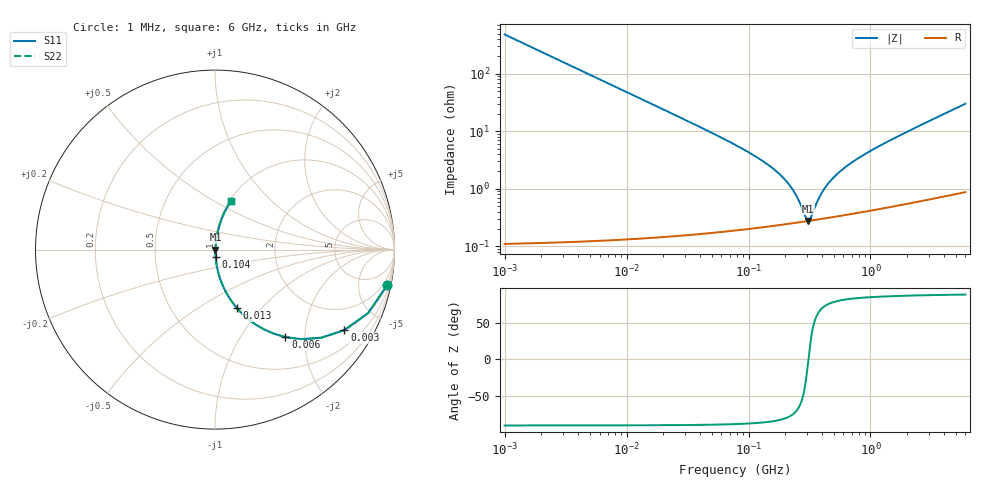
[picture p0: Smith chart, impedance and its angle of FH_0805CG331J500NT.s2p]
! FH 0805CG331J500NT 330 pF 0805 C0G (C5)
! FH publishes no RF data: typical 0805 C0G model, ESL=0.8 nH, ESR=0.10+0.10*sqrt(f/100MHz) ohm
! Generated by make_s2p.py - an estimate, not a measurement
! Series-thru 2-port: part connected between port 1 and port 2.
# Hz S RI R 50
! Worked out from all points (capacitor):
!   1500 points, 1 MHz to 6 GHz, reference 50 ohm
!   read as one part in series: C = 330 pF near 8 MHz
!   lowest |Z| = 276 mohm at 309 MHz (marker M1)
!   series resonance near 309.8 MHz, so ESL is about 800 pH
!   S11 on the Smith chart (normalised r, x): 1 MHz: 1.00, -9.65; 3 MHz: 1.00, -3.21; 6 MHz: 1.00, -1.61; 13 MHz: 1.00, -0.74; 104 MHz: 1.00, -0.08; 6 GHz: 1.02, +0.60
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1000000  0.9587 -0.1988  0.0413 0.1988  0.0413 0.1988  0.9587 -0.1988
3000000  0.7208 -0.4482  0.2792 0.4482  0.2792 0.4482  0.7208 -0.4482
5000000  0.4819 -0.499  0.5181 0.499  0.5181 0.499  0.4819 -0.499
6000000  0.3925 -0.4875  0.6075 0.4875  0.6075 0.4875  0.3925 -0.4875
9000000  0.2234 -0.4153  0.7766 0.4153  0.7766 0.4153  0.2234 -0.4153
1.3e7  0.1215 -0.3249  0.8785 0.3249  0.8785 0.3249  0.1215 -0.3249
1.9e7  0.0613 -0.237  0.9387 0.237  0.9387 0.237  0.0613 -0.237
3.6e7  0.0187 -0.1295  0.9813 0.1295  0.9813 0.1295  0.0187 -0.1295
7.8e7  0.0052 -0.0575  0.9948 0.0575  0.9948 0.0575  0.0052 -0.0575
1.04e8  0.0037 -0.0409  0.9963 0.0409  0.9963 0.0409  0.0037 -0.0409
1.55e8  0.00278 -0.0232  0.9972 0.0232  0.9972 0.0232  0.00278 -0.0232
2.05e8  0.0026 -0.0132  0.9974 0.0132  0.9974 0.0132  0.0026 -0.0132
2.45e8  0.00261 -0.00733  0.9974 0.00733  0.9974 0.00733  0.00261 -0.00733
2.95e8  0.00271 -0.00151  0.9973 0.00151  0.9973 0.00151  0.00271 -0.00151
3.09e8  0.00275 -7.56e-05  0.9972 7.56e-05  0.9972 7.56e-05  0.00275 -7.56e-05
3.31e8  0.00282 0.00206  0.9972 -0.00206  0.9972 -0.00206  0.00282 0.00206
4.01e8  0.00306 0.00808  0.9969 -0.00808  0.9969 -0.00808  0.00306 0.00808
5.19e8  0.00355 0.0167  0.9965 -0.0167  0.9965 -0.0167  0.00355 0.0167
7.69e8  0.00479 0.0321  0.9952 -0.0321  0.9952 -0.0321  0.00479 0.0321
1.41e9  0.0092 0.0665  0.9908 -0.0665  0.9908 -0.0665  0.0092 0.0665
3.02e9  0.0281 0.145  0.9719 -0.145  0.9719 -0.145  0.0281 0.145
6e9  0.0896 0.2715  0.9104 -0.2715  0.9104 -0.2715  0.0896 0.2715
